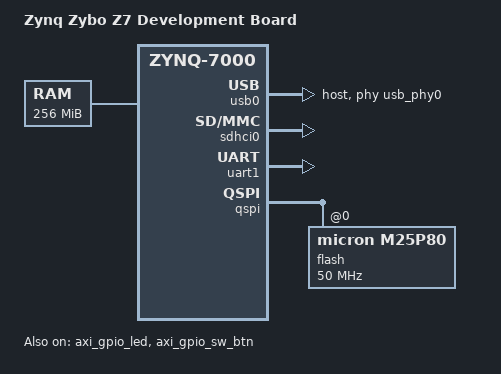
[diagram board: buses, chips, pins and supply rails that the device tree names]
/*
 * Zybo-z7-20 Safe firmware DTS
 *
 * Copyright (c) 2018-2021 Hepia
 * Orphee Antoniadis <orphee.antoniadis@hesge.ch>
 *
 */

/include/ "system-conf.dtsi"
#include <dt-bindings/gpio/gpio.h>

/ {
    model = "Zynq Zybo Z7 Development Board";
    compatible = "digilent,zynq-zyboz7", "xlnx,zynq-7000";

    /* 256 MB DDR3 */
    memory@0 {
        device_type = "memory";
        reg = <0 0x10000000>;
    };

    chosen {
        bootargs = "earlyprintk cpuidle.off=1 crashkernel=256M rw uio_pdrv_genirq.of_id=generic-uio";
        stdout-path = "serial0:115200n8";
    };
};

/ {
    amba_pl: amba_pl {
        #address-cells = <1>;
        #size-cells = <1>;
        compatible = "simple-bus";
        ranges ;

        axi_gpio_led: gpio@41200000 {
            #gpio-cells = <3>;
            // clock-names = "s_axi_aclk";
            // clocks = <&clkc 15>;
            compatible = "generic-uio";
            reg = <0x41200000 0x10000>;
        };

        axi_gpio_sw_btn: gpio@41210000 {
            #gpio-cells = <3>;
            // clock-names = "s_axi_aclk";
            // clocks = <&clkc 15>;
            compatible = "generic-uio";
            reg = <0x41210000 0x10000>;
        };
    };
};

// &gem0 {
//     status = "okay";
//     phy-handle = <&ethernet_phy>;
//     // phy-reset-gpio = <&axi_gpio_eth 0 0>;
//     // phy-reset-active-low;	
//     // phy-reset-duration = <10>; 
//     ethernet_phy: ethernet-phy@1 { /* rtl8211e-vl */
//     reg = <1>;
//     device_type = "ethernet-phy";
//     };
// };

&usb0 {
    status = "okay";
    dr_mode = "host";
    usb-phy = <&usb_phy0>;
};

&sdhci0 {
    u-boot,dm-pre-reloc;
    status = "okay";
};

&uart1 {
    u-boot,dm-pre-reloc;
    status = "okay";
    cts-override ;
    device_type = "serial";
    port-number = <1>;
};

&qspi {
    u-boot,dm-pre-reloc;
    status = "okay";
    is-dual = <0>;
    num-cs = <1>;

    /* Erase sector size of 64KB */
    flash@0 {
        compatible = "micron,m25p80", "s25fl128s", "spi-flash";
        spi-tx-bus-width = <1>;
        spi-rx-bus-width = <4>;
        spi-max-frequency = <50000000>;
        #address-cells = <1>;
        #size-cells = <1>;
    };
};

&axi_gpio_led {
    status = "okay";
    compatible = "generic-uio";
};


&axi_gpio_sw_btn {
    status = "okay";
    compatible = "generic-uio";
};
